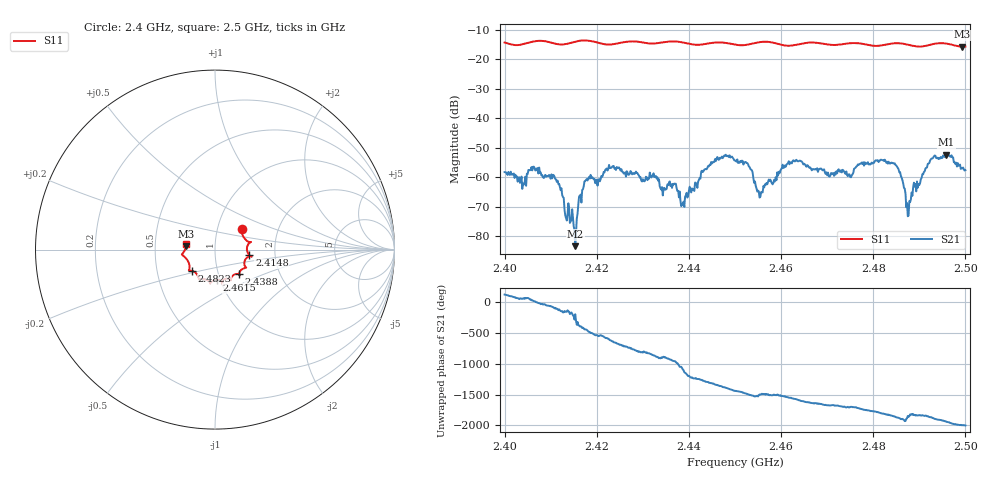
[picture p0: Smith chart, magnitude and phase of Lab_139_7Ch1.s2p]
# Hz S RI R 50
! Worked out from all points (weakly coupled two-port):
!   601 points, 2.4 GHz to 2.5 GHz, reference 50 ohm
!   highest |S21| = -52.34 dB at 2.4958 GHz (marker M1); lowest = -83.3 dB at 2.4153 GHz (marker M2)
!   lowest |S11| = -15.7 dB at 2.4993 GHz (marker M3), VSWR 1.39, Z = 36 + j1.34 ohm
!   |S11| at or under -10 dB: start of sweep to end of sweep
!   S12 and S22 are empty: the file has one direction only
!   S11 on the Smith chart (normalised r, x): 2.4 GHz: 1.31, +0.32; 2.4148 GHz: 1.47, -0.10; 2.4388 GHz: 1.25, -0.36; 2.4615 GHz: 0.97, -0.34; 2.4823 GHz: 0.75, -0.18; 2.5 GHz: 0.72, +0.05
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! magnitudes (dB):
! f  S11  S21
! 2.4 GHz  -14.3  -58.2
! 2.4107 GHz  -14.6  -59.3
! 2.4148 GHz  -14.2  -73.6
! 2.4153 GHz  -14.0  -83.3
! 2.4167 GHz  -13.7  -68.6
! 2.4232 GHz  -15.0  -56.8
! 2.4333 GHz  -14.5  -61.2
! 2.4388 GHz  -14.4  -68.2
! 2.4457 GHz  -14.4  -53.9
! 2.45 GHz  -15.0  -54.3
! 2.4528 GHz  -15.0  -55.6
! 2.4555 GHz  -14.2  -66.6
! 2.4615 GHz  -15.4  -55.3
! 2.4667 GHz  -14.3  -57.6
! 2.4823 GHz  -15.2  -54.5
! 2.4833 GHz  -14.9  -54.7
! 2.4855 GHz  -14.6  -57.3
! 2.4877 GHz  -15.1  -73.0
! 2.4923 GHz  -15.1  -54.3
! 2.4958 GHz  -14.7  -52.3
! 2.4993 GHz  -15.7  -57.0
! 2.5 GHz  -15.7  -57.6
